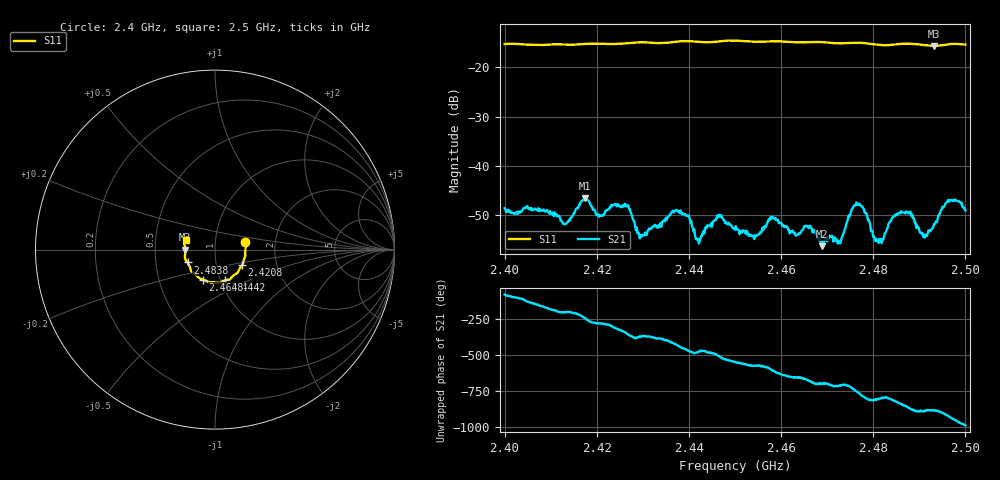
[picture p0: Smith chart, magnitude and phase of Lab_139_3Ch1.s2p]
# Hz S RI R 50
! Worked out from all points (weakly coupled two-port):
!   601 points, 2.4 GHz to 2.5 GHz, reference 50 ohm
!   highest |S21| = -46.57 dB at 2.4175 GHz (marker M1); lowest = -56.4 dB at 2.4688 GHz (marker M2)
!   lowest |S11| = -15.6 dB at 2.4932 GHz (marker M3), VSWR 1.40, Z = 35.8 - j0.0726 ohm
!   |S11| at or under -10 dB: start of sweep to end of sweep
!   S12 and S22 are empty: the file has one direction only
!   S11 on the Smith chart (normalised r, x): 2.4 GHz: 1.40, +0.12; 2.4208 GHz: 1.33, -0.24; 2.4442 GHz: 1.05, -0.37; 2.4648 GHz: 0.83, -0.29; 2.4838 GHz: 0.73, -0.11; 2.5 GHz: 0.72, +0.08
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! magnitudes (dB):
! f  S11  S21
! 2.4 GHz  -15.2  -48.6
! 2.4132 GHz  -15.3  -51.9
! 2.4167 GHz  -15.2  -47.2
! 2.4175 GHz  -15.2  -46.6
! 2.4208 GHz  -15.2  -50.2
! 2.4263 GHz  -15.1  -48.3
! 2.4333 GHz  -15.0  -52.7
! 2.4373 GHz  -14.7  -49.2
! 2.442 GHz  -14.8  -54.9
! 2.4442 GHz  -14.9  -52.3
! 2.45 GHz  -14.5  -53.1
! 2.4648 GHz  -14.9  -53.0
! 2.4667 GHz  -14.8  -53.0
! 2.4688 GHz  -14.8  -56.4
! 2.4728 GHz  -15.1  -55.8
! 2.4765 GHz  -15.0  -47.7
! 2.4807 GHz  -15.4  -54.9
! 2.4833 GHz  -15.5  -51.8
! 2.4838 GHz  -15.4  -51.3
! 2.4932 GHz  -15.6  -51.9
! 2.4963 GHz  -15.3  -47.0
! 2.5 GHz  -15.3  -49.1
